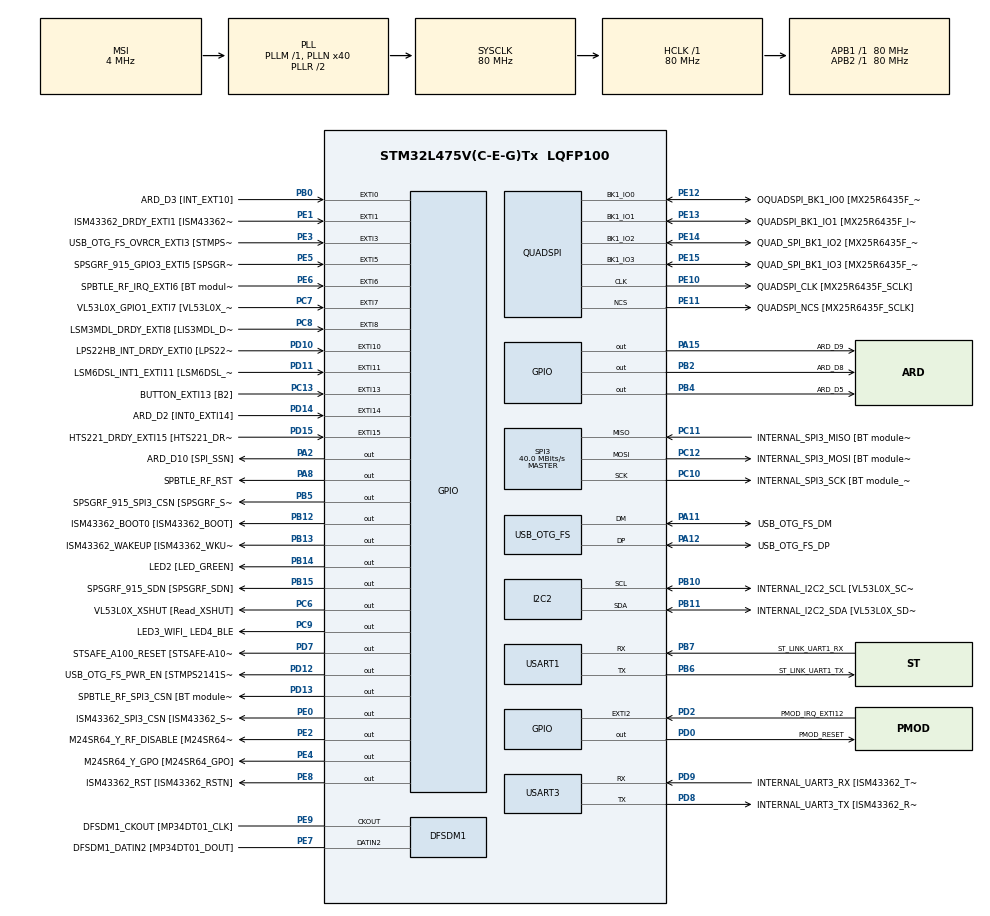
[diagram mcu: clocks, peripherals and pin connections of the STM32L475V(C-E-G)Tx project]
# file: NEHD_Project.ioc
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I2C2.Timing=0x10D19CE4
Mcu.Family=STM32L4
Mcu.Name=STM32L475V(C-E-G)Tx
Mcu.Package=LQFP100
NVIC.EXTI15_10_IRQn=true\:0\:0\:false\:false\:true\:true\:true\:true
NVIC.EXTI9_5_IRQn=true\:0\:0\:false\:false\:true\:true\:true\:true
NVIC.PriorityGroup=NVIC_PRIORITYGROUP_4
PA0.GPIO_Label=ARD_D1 [UART4_TX]
PA0.Signal=UART4_TX
PA1.GPIO_Label=ARD_D0 [UART4_RX]
PA1.Signal=UART4_RX
PA10.GPIO_Label=USB_OTG_FS_ID
PA10.Signal=USB_OTG_FS_ID
PA11.GPIO_Label=USB_OTG_FS_DM
PA11.Mode=Device_Only
PA11.Signal=USB_OTG_FS_DM
PA12.GPIO_Label=USB_OTG_FS_DP
PA12.Mode=Device_Only
PA12.Signal=USB_OTG_FS_DP
PA13\ (JTMS-SWDIO).GPIO_Label=SYS_JTMS_SWDIO
PA13\ (JTMS-SWDIO).Mode=Serial_Wire
PA13\ (JTMS-SWDIO).Signal=SYS_JTMS-SWDIO
PA14\ (JTCK-SWCLK).GPIO_Label=SYS_JTCK_SWCLK
PA14\ (JTCK-SWCLK).Mode=Serial_Wire
PA14\ (JTCK-SWCLK).Signal=SYS_JTCK-SWCLK
PA15\ (JTDI).GPIO_Label=ARD_D9
PA15\ (JTDI).Signal=GPIO_Output
PA2.GPIO_Label=ARD_D10 [SPI_SSN]
PA2.Signal=GPIO_Output
PA3.GPIO_Label=ARD_D4
PA3.Signal=S_TIM2_CH4
PA4.GPIO_Label=ARD_D7
PA4.Signal=ADCx_IN9
PA5.GPIO_Label=ARD_D13 [SPI1_SCK]
PA5.Signal=SPI1_SCK
PA6.GPIO_Label=ARD_D12 [SPI1_MISO]
PA6.Signal=SPI1_MISO
PA7.GPIO_Label=ARD_D11 [SPI1_MOSI]
PA7.Signal=SPI1_MOSI
PA8.GPIO_Label=SPBTLE_RF_RST
PA8.Signal=GPIO_Output
PA9.GPIO_Label=USB_OTG_FS_VBUS [STMPS2141STR_OUT]
PA9.Signal=USB_OTG_FS_VBUS
PB0.GPIO_Label=ARD_D3 [INT_EXT10]
PB0.Signal=GPXTI0
PB1.GPIO_Label=ARD_D6 [ADC1_IN6]
PB1.Signal=ADCx_IN16
PB10.GPIO_Label=INTERNAL_I2C2_SCL [VL53L0X_SCL]
PB10.GPIO_Pu=GPIO_PULLUP
PB10.Mode=I2C
PB10.Signal=I2C2_SCL
PB11.GPIO_Label=INTERNAL_I2C2_SDA [VL53L0X_SDA]
PB11.GPIO_Pu=GPIO_PULLUP
PB11.Mode=I2C
PB11.Signal=I2C2_SDA
PB12.GPIO_Label=ISM43362_BOOT0 [ISM43362_BOOT]
PB12.Signal=GPIO_Output
PB13.GPIO_Label=ISM43362_WAKEUP [ISM43362_WKUP]
PB13.Signal=GPIO_Output
PB14.GPIO_Label=LED2 [LED_GREEN]
PB14.Signal=GPIO_Output
PB15.GPIO_Label=SPSGRF_915_SDN [SPSGRF_SDN]
PB15.Signal=GPIO_Output
PB2.GPIO_Label=ARD_D8
PB2.Signal=GPIO_Output
PB3\ (JTDO-TRACESWO).GPIO_Label=SYS_JTD0_SWO
PB3\ (JTDO-TRACESWO).Signal=SYS_JTDO-SWO
PB4\ (NJTRST).GPIO_Label=ARD_D5
PB4\ (NJTRST).Signal=GPIO_Output
PB5.GPIO_Label=SPSGRF_915_SPI3_CSN [SPSGRF_SPI_CS]
PB5.PinState=GPIO_PIN_SET
PB5.Signal=GPIO_Output
PB6.GPIO_Label=ST_LINK_UART1_TX
PB6.Mode=Asynchronous
PB6.Signal=USART1_TX
PB7.GPIO_Label=ST_LINK_UART1_RX
PB7.Mode=Asynchronous
PB7.Signal=USART1_RX
PB8.GPIO_Label=ARD_D15 [I2C1_SCL]
PB8.Signal=I2C1_SCL
PB9.GPIO_Label=ARD_D14 [I2C1_SDA]
PB9.Signal=I2C1_SDA
PC0.GPIO_Label=ARD_A5 [ADC]
PC0.Signal=ADCx_IN1
PC1.GPIO_Label=ARD_A4 [ADC]
PC1.Signal=ADCx_IN2
PC10.GPIO_Label=INTERNAL_SPI3_SCK [BT module_SPI_SCLK] [ISM43362_SCK]
PC10.Mode=Full_Duplex_Master
PC10.Signal=SPI3_SCK
PC11.GPIO_Label=INTERNAL_SPI3_MISO [BT module_SPI_MISO] [ISM43362_MISO]
PC11.Mode=Full_Duplex_Master
PC11.Signal=SPI3_MISO
PC12.GPIO_Label=INTERNAL_SPI3_MOSI [BT module_SPI_MOSI] [ISM43362_MOSI]
PC12.Mode=Full_Duplex_Master
PC12.Signal=SPI3_MOSI
PC13.GPIO_Label=BUTTON_EXTI13 [B2]
PC13.GPIO_ModeDefaultEXTI=GPIO_MODE_IT_FALLING
PC13.Signal=GPXTI13
PC14-OSC32_IN\ (PC14).Mode=LSE-External-Oscillator
PC14-OSC32_IN\ (PC14).Signal=RCC_OSC32_IN
PC15-OSC32_OUT\ (PC15).Mode=LSE-External-Oscillator
PC15-OSC32_OUT\ (PC15).Signal=RCC_OSC32_OUT
PC2.GPIO_Label=ARD_A3 [ADC]
PC2.Signal=ADCx_IN3
PC3.GPIO_Label=ARD_A2 [ADC]
PC3.Signal=ADCx_IN4
PC4.GPIO_Label=ARD_A1 [ADC]
PC4.Signal=ADCx_IN13
PC5.GPIO_Label=ARD_A0 [ADC]
PC5.Signal=ADCx_IN14
PC6.GPIO_Label=VL53L0X_XSHUT [Read_XSHUT]
PC6.Signal=GPIO_Output
PC7.GPIO_Label=VL53L0X_GPIO1_EXTI7 [VL53L0X_GPIO1]
PC7.Signal=GPXTI7
PC8.GPIO_Label=LSM3MDL_DRDY_EXTI8 [LIS3MDL_DRDY]
PC8.Signal=GPXTI8
PC9.GPIO_Label=LED3_WIFI_ LED4_BLE
PC9.Signal=GPIO_Output
PD0.GPIO_Label=PMOD_RESET
PD0.Signal=GPIO_Output
PD1.GPIO_Label=PMOD_SPI2_SCK
PD1.Signal=SPI2_SCK
PD10.GPIO_Label=LPS22HB_INT_DRDY_EXTI0 [LPS22HB_INT_DRDY] 
PD10.Signal=GPXTI10
PD11.GPIO_Label=LSM6DSL_INT1_EXTI11 [LSM6DSL_INT1]
PD11.Signal=GPXTI11
PD12.GPIO_Label=USB_OTG_FS_PWR_EN [STMPS2141STR_EN]
PD12.Signal=GPIO_Output
PD13.GPIO_Label=SPBTLE_RF_SPI3_CSN [BT module_SPI_CS]
PD13.PinState=GPIO_PIN_SET
PD13.Signal=GPIO_Output
PD14.GPIO_Label=ARD_D2 [INT0_EXTI14]
PD14.Signal=GPXTI14
PD15.GPIO_Label=HTS221_DRDY_EXTI15 [HTS221_DRDY]
PD15.Signal=GPXTI15
PD2.GPIO_Label=PMOD_IRQ_EXTI12
PD2.Signal=GPXTI2
PD3.GPIO_Label=PMOD_UART2_CTS
PD3.Signal=USART2_CTS
PD4.GPIO_Label=PMOD_UART2_RTS
PD4.Signal=USART2_RTS
PD5.GPIO_Label=PMOD_UART2_TX
PD5.Signal=USART2_TX
PD6.GPIO_Label=PMOD_UART2_RX
PD6.Signal=USART2_RX
PD7.GPIO_Label=STSAFE_A100_RESET [STSAFE-A100_RESET]
PD7.Signal=GPIO_Output
PD8.GPIO_Label=INTERNAL_UART3_TX [ISM43362_RX]
PD8.Mode=Asynchronous
PD8.Signal=USART3_TX
PD9.GPIO_Label=INTERNAL_UART3_RX [ISM43362_TX]
PD9.Mode=Asynchronous
PD9.Signal=USART3_RX
PE0.GPIO_Label=ISM43362_SPI3_CSN [ISM43362_SSN]
PE0.PinState=GPIO_PIN_SET
PE0.Signal=GPIO_Output
PE1.GPIO_Label=ISM43362_DRDY_EXTI1 [ISM43362_DATARDY]
PE1.Signal=GPXTI1
PE10.GPIO_Label=QUADSPI_CLK [MX25R6435F_SCLK]
PE10.Mode=Single Bank
PE10.Signal=QUADSPI_CLK
PE11.GPIO_Label=QUADSPI_NCS [MX25R6435F_SCLK]
PE11.Mode=Single Bank
PE11.Signal=QUADSPI_NCS
PE12.GPIO_Label=OQUADSPI_BK1_IO0 [MX25R6435F_IO0]
PE12.Mode=Single Bank
PE12.Signal=QUADSPI_BK1_IO0
PE13.GPIO_Label=QUADSPI_BK1_IO1 [MX25R6435F_IO1]
PE13.Mode=Single Bank
PE13.Signal=QUADSPI_BK1_IO1
PE14.GPIO_Label=QUAD_SPI_BK1_IO2 [MX25R6435F_IO2]
PE14.Mode=Single Bank
PE14.Signal=QUADSPI_BK1_IO2
PE15.GPIO_Label=QUAD_SPI_BK1_IO3 [MX25R6435F_IO3]
PE15.Mode=Single Bank
PE15.Signal=QUADSPI_BK1_IO3
PE2.GPIO_Label=M24SR64_Y_RF_DISABLE [M24SR64_RFDIS]
PE2.Signal=GPIO_Output
PE3.GPIO_Label=USB_OTG_FS_OVRCR_EXTI3 [STMPS2141STR_FAULT]
PE3.Signal=GPXTI3
PE4.GPIO_Label=M24SR64_Y_GPO [M24SR64_GPO]
PE4.Signal=GPIO_Output
PE5.GPIO_Label=SPSGRF_915_GPIO3_EXTI5 [SPSGRF_GPIO_3]
PE5.Signal=GPXTI5
PE6.GPIO_Label=SPBTLE_RF_IRQ_EXTI6 [BT module_SPI_IRQ]
PE6.Signal=GPXTI6
PE7.GPIO_Label=DFSDM1_DATIN2 [MP34DT01_DOUT]
PE7.Signal=S_DATAIN2DFSDM1
PE8.GPIO_Label=ISM43362_RST [ISM43362_RSTN]
PE8.Signal=GPIO_Output
PE9.GPIO_Label=DFSDM1_CKOUT [MP34DT01_CLK]
PE9.Signal=S_CKOUTDFSDM1
ProjectManager.HeapSize=0x200
ProjectManager.StackSize=0x400
ProjectManager.TargetToolchain=STM32CubeIDE
QUADSPI.ClockPrescaler=2
QUADSPI.FifoThreshold=4
QUADSPI.FlashSize=23
QUADSPI.SampleShifting=QSPI_SAMPLE_SHIFTING_HALFCYCLE
RCC.ADCFreq_Value=48000000
RCC.AHBFreq_Value=80000000
RCC.APB1Freq_Value=80000000
RCC.APB1TimFreq_Value=80000000
RCC.APB2Freq_Value=80000000
RCC.APB2TimFreq_Value=80000000
RCC.CortexFreq_Value=80000000
RCC.HCLKFreq_Value=80000000
RCC.HSE_VALUE=8000000
RCC.HSI_VALUE=16000000
RCC.MSI_VALUE=4000000
RCC.PLLN=40
RCC.PLLSAI1N=24
RCC.SYSCLKFreq_VALUE=80000000
RCC.SYSCLKSource=RCC_SYSCLKSOURCE_PLLCLK
RCC.USBFreq_Value=48000000
RCC.VCOOutputFreq_Value=160000000
SH.ADCx_IN1.0=ADC1_IN1
SH.ADCx_IN13.0=ADC1_IN13
SH.ADCx_IN14.0=ADC1_IN14
SH.ADCx_IN16.0=ADC1_IN16
SH.ADCx_IN2.0=ADC1_IN2
SH.ADCx_IN3.0=ADC1_IN3
SH.ADCx_IN4.0=ADC1_IN4
SH.ADCx_IN9.0=ADC1_IN9
SH.S_CKOUTDFSDM1.0=DFSDM1_CKOUT,CKOUT
SH.S_CKOUTDFSDM1.1=DFSDM1_CKOUT,PDM_SPI_Input_from_ch12_and_Internal_Clock
SH.S_DATAIN2DFSDM1.0=DFSDM1_DATIN2,PDM_SPI_Input_from_ch12_and_Internal_Clock
SH.S_TIM2_CH4.0=TIM2_CH4
SPI3.CalculateBaudRate=40.0 MBits/s
SPI3.Direction=SPI_DIRECTION_2LINES
SPI3.Mode=SPI_MODE_MASTER
SPI3.VirtualType=VM_MASTER
STMicroelectronics.X-CUBE-MEMS1.11.1.0.BSP.number=1
STMicroelectronics.X-CUBE-MEMS1.11.1.0.BoardOoPartJjAccGyrJjLSM6DSL=I2C
STMicroelectronics.X-CUBE-MEMS1.11.1.00.BSP.STBoard=false
STMicroelectronics.X-CUBE-MEMS1.11.1.00.BSP.api=BSP_BUS_DRIVER
STMicroelectronics.X-CUBE-MEMS1.11.1.00.BSP.condition=SEMBoardOoPartJjAccGyrJjLSM6DSLJjI2C
STMicroelectronics.X-CUBE-MEMS1.11.1.00.BSP.instance=I2C2
STMicroelectronics.X-CUBE-MEMS1.11.1.00.BSP.ip=I2C
STMicroelectronics.X-CUBE-MEMS1.11.1.00.BSP.mode=I2C
STMicroelectronics.X-CUBE-MEMS1.11.1.00.BSP.name=LSM6DSL BUS IO driver
STMicroelectronics.X-CUBE-MEMS1.11.1.00.BSP.solution=I2C2
USART1.VirtualMode-Asynchronous=VM_ASYNC
USART3.VirtualMode-Asynchronous=VM_ASYNC
USB_OTG_FS.VirtualMode=Device_Only
VP_STMicroelectronics.X-CUBE-MEMS1_VS_BoardOoPartJjAccGyr_5.6.0_11.1.0.Mode=BoardOoPartJjAccGyr
board=B-L475E-IOT01A2

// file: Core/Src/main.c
// Alex Cen Feng
/* USER CODE BEGIN Header */
/**
  ******************************************************************************
  * @file           : main.c
  * @brief          : Main program body
  ******************************************************************************
  * @attention
  *
  * Copyright (c) 2025 STMicroelectronics.
  * All rights reserved.
  *
  * This software is licensed under terms that can be found in the LICENSE file
  * in the root directory of this software component.
  * If no LICENSE file comes with this software, it is provided AS-IS.
  *
  ******************************************************************************
  */
/* USER CODE END Header */

#include "main.h"

#include "string.h"
#include <stdio.h>

/* USER CODE BEGIN Includes */
#include "stm32l475e_iot01.h"
#include "stm32l475e_iot01_gyro.h"
/* USER CODE END Includes */

DFSDM_Channel_HandleTypeDef hdfsdm1_channel1;
I2C_HandleTypeDef hi2c2;
QSPI_HandleTypeDef hqspi;
SPI_HandleTypeDef hspi3;
UART_HandleTypeDef huart1;
UART_HandleTypeDef huart3;
PCD_HandleTypeDef hpcd_USB_OTG_FS;

/* USER CODE BEGIN PV */
// Buffer to hold text for UART
static char msgBuffer[100];
// Float array to hold gyroscope data [X, Y, Z]
static float gyroData[3];
/* USER CODE END PV */

void SystemClock_Config(void);
static void MX_GPIO_Init(void);
static void MX_DFSDM1_Init(void);
static void MX_I2C2_Init(void);
static void MX_QUADSPI_Init(void);
static void MX_SPI3_Init(void);
static void MX_USART1_UART_Init(void);
static void MX_USART3_UART_Init(void);
static void MX_USB_OTG_FS_PCD_Init(void);

int main(void)
{

  /* MCU Configuration--------------------------------------------------------*/
  HAL_Init();                            // Reset peripherals, Init the Flash and Systick.

  SystemClock_Config();                  // Configure the system clock.

  /* Initialize all configured peripherals */
  MX_GPIO_Init();
  MX_DFSDM1_Init();
  MX_I2C2_Init();
  MX_QUADSPI_Init();
  MX_SPI3_Init();
  MX_USART1_UART_Init();
  MX_USART3_UART_Init();
  MX_USB_OTG_FS_PCD_Init();

  /* USER CODE BEGIN 2 */
  // ---------------------------------------------------------------
  // Initialize the LSM6DSL Gyroscope using the BSP driver
  // ---------------------------------------------------------------
  BSP_GYRO_Init();
  // ---------------------------------------------------------------
  /* USER CODE END 2 */

  /* Infinite loop */
  /* USER CODE BEGIN WHILE */
  while (1)
  {
    // Read gyroscope data [dps: degrees per second]
    BSP_GYRO_GetXYZ(gyroData);

    // Prepare a text string to display the readings
    sprintf(msgBuffer,
            "GYRO [X,Y,Z] = [%.2f, %.2f, %.2f] dps\r\n",
            gyroData[0], gyroData[1], gyroData[2]);

    // Print via UART1 (115200 8N1)
    HAL_UART_Transmit(&huart1,
                      (uint8_t *)msgBuffer,
                      strlen(msgBuffer),
                      HAL_MAX_DELAY);

    if (HAL_GPIO_ReadPin(BUTTON_EXTI13_GPIO_Port, BUTTON_EXTI13_Pin) == GPIO_PIN_RESET)
    {
      // The button is currently pressed
      sprintf(msgBuffer, "User button is pressed!\r\n");
      HAL_UART_Transmit(&huart1,
                        (uint8_t *)msgBuffer,
                        strlen(msgBuffer),
                        HAL_MAX_DELAY);
    }

    // Small delay for readability
    HAL_Delay(500);
    /* USER CODE END WHILE */

  }
}

void SystemClock_Config(void)
{
  RCC_OscInitTypeDef RCC_OscInitStruct = {0};
  RCC_ClkInitTypeDef RCC_ClkInitStruct = {0};

  /** Configure the main internal regulator output voltage
  */
  if (HAL_PWREx_ControlVoltageScaling(PWR_REGULATOR_VOLTAGE_SCALE1) != HAL_OK)
  {
    Error_Handler();
  }

  /** Configure LSE Drive Capability
  */
  HAL_PWR_EnableBkUpAccess();
  __HAL_RCC_LSEDRIVE_CONFIG(RCC_LSEDRIVE_LOW);

  /** Initializes the RCC Oscillators
  */
  RCC_OscInitStruct.OscillatorType      = RCC_OSCILLATORTYPE_LSE|RCC_OSCILLATORTYPE_MSI;
  RCC_OscInitStruct.LSEState           = RCC_LSE_ON;
  RCC_OscInitStruct.MSIState           = RCC_MSI_ON;
  RCC_OscInitStruct.MSICalibrationValue= 0;
  RCC_OscInitStruct.MSIClockRange      = RCC_MSIRANGE_6;
  RCC_OscInitStruct.PLL.PLLState       = RCC_PLL_ON;
  RCC_OscInitStruct.PLL.PLLSource      = RCC_PLLSOURCE_MSI;
  RCC_OscInitStruct.PLL.PLLM           = 1;
  RCC_OscInitStruct.PLL.PLLN           = 40;
  RCC_OscInitStruct.PLL.PLLP           = RCC_PLLP_DIV7;
  RCC_OscInitStruct.PLL.PLLQ           = RCC_PLLQ_DIV2;
  RCC_OscInitStruct.PLL.PLLR           = RCC_PLLR_DIV2;
  if (HAL_RCC_OscConfig(&RCC_OscInitStruct) != HAL_OK)
  {
    Error_Handler();
  }

  /** Initializes the CPU, AHB, and APB bus clocks
  */
  RCC_ClkInitStruct.ClockType      = RCC_CLOCKTYPE_HCLK|RCC_CLOCKTYPE_SYSCLK
                                     |RCC_CLOCKTYPE_PCLK1|RCC_CLOCKTYPE_PCLK2;
  RCC_ClkInitStruct.SYSCLKSource   = RCC_SYSCLKSOURCE_PLLCLK;
  RCC_ClkInitStruct.AHBCLKDivider  = RCC_SYSCLK_DIV1;
  RCC_ClkInitStruct.APB1CLKDivider = RCC_HCLK_DIV1;
  RCC_ClkInitStruct.APB2CLKDivider = RCC_HCLK_DIV1;

  if(HAL_RCC_ClockConfig(&RCC_ClkInitStruct, FLASH_LATENCY_4) != HAL_OK)
  {
    Error_Handler();
  }

  /** Enable MSI Auto calibration
  */
  HAL_RCCEx_EnableMSIPLLMode();
}

static void MX_DFSDM1_Init(void)
{

  hdfsdm1_channel1.Instance                      = DFSDM1_Channel1;
  hdfsdm1_channel1.Init.OutputClock.Activation   = ENABLE;
  hdfsdm1_channel1.Init.OutputClock.Selection    = DFSDM_CHANNEL_OUTPUT_CLOCK_SYSTEM;
  hdfsdm1_channel1.Init.OutputClock.Divider      = 2;
  hdfsdm1_channel1.Init.Input.Multiplexer        = DFSDM_CHANNEL_EXTERNAL_INPUTS;
  hdfsdm1_channel1.Init.Input.DataPacking        = DFSDM_CHANNEL_STANDARD_MODE;
  hdfsdm1_channel1.Init.Input.Pins               = DFSDM_CHANNEL_FOLLOWING_CHANNEL_PINS;
  hdfsdm1_channel1.Init.SerialInterface.Type     = DFSDM_CHANNEL_SPI_RISING;
  hdfsdm1_channel1.Init.SerialInterface.SpiClock = DFSDM_CHANNEL_SPI_CLOCK_INTERNAL;
  hdfsdm1_channel1.Init.Awd.FilterOrder          = DFSDM_CHANNEL_FASTSINC_ORDER;
  hdfsdm1_channel1.Init.Awd.Oversampling         = 1;
  hdfsdm1_channel1.Init.Offset                   = 0;
  hdfsdm1_channel1.Init.RightBitShift            = 0x00;
  if (HAL_DFSDM_ChannelInit(&hdfsdm1_channel1) != HAL_OK)
  {
    Error_Handler();
  }
}

static void MX_I2C2_Init(void)
{

  hi2c2.Instance              = I2C2;
  hi2c2.Init.Timing           = 0x00000E14;
  hi2c2.Init.OwnAddress1      = 0;
  hi2c2.Init.AddressingMode   = I2C_ADDRESSINGMODE_7BIT;
  hi2c2.Init.DualAddressMode  = I2C_DUALADDRESS_DISABLE;
  hi2c2.Init.OwnAddress2      = 0;
  hi2c2.Init.OwnAddress2Masks = I2C_OA2_NOMASK;
  hi2c2.Init.GeneralCallMode  = I2C_GENERALCALL_DISABLE;
  hi2c2.Init.NoStretchMode    = I2C_NOSTRETCH_DISABLE;
  if (HAL_I2C_Init(&hi2c2) != HAL_OK)
  {
    Error_Handler();
  }

  /** Configure Analogue filter
  */
  if (HAL_I2CEx_ConfigAnalogFilter(&hi2c2, I2C_ANALOGFILTER_ENABLE) != HAL_OK)
  {
    Error_Handler();
  }

  /** Configure Digital filter
  */
  if (HAL_I2CEx_ConfigDigitalFilter(&hi2c2, 0) != HAL_OK)
  {
    Error_Handler();
  }
}

static void MX_QUADSPI_Init(void)
{

  /* QUADSPI parameter configuration*/
  hqspi.Instance               = QUADSPI;
  hqspi.Init.ClockPrescaler    = 2;
  hqspi.Init.FifoThreshold     = 4;
  hqspi.Init.SampleShifting    = QSPI_SAMPLE_SHIFTING_HALFCYCLE;
  hqspi.Init.FlashSize         = 23;
  hqspi.Init.ChipSelectHighTime= QSPI_CS_HIGH_TIME_1_CYCLE;
  hqspi.Init.ClockMode         = QSPI_CLOCK_MODE_0;
  if (HAL_QSPI_Init(&hqspi) != HAL_OK)
  {
    Error_Handler();
  }
}

static void MX_SPI3_Init(void)
{

  /* SPI3 parameter configuration*/
  hspi3.Instance               = SPI3;
  hspi3.Init.Mode              = SPI_MODE_MASTER;
  hspi3.Init.Direction         = SPI_DIRECTION_2LINES;
  hspi3.Init.DataSize          = SPI_DATASIZE_4BIT;
  hspi3.Init.CLKPolarity       = SPI_POLARITY_LOW;
  hspi3.Init.CLKPhase          = SPI_PHASE_1EDGE;
  hspi3.Init.NSS               = SPI_NSS_SOFT;
  hspi3.Init.BaudRatePrescaler = SPI_BAUDRATEPRESCALER_2;
  hspi3.Init.FirstBit          = SPI_FIRSTBIT_MSB;
  hspi3.Init.TIMode            = SPI_TIMODE_DISABLE;
  hspi3.Init.CRCCalculation    = SPI_CRCCALCULATION_DISABLE;
  hspi3.Init.CRCPolynomial     = 7;
  hspi3.Init.CRCLength         = SPI_CRC_LENGTH_DATASIZE;
  hspi3.Init.NSSPMode          = SPI_NSS_PULSE_ENABLE;
  if (HAL_SPI_Init(&hspi3) != HAL_OK)
  {
    Error_Handler();
  }
}

static void MX_USART1_UART_Init(void)
{

  huart1.Instance                    = USART1;
  huart1.Init.BaudRate              = 115200;
  huart1.Init.WordLength            = UART_WORDLENGTH_8B;
  huart1.Init.StopBits              = UART_STOPBITS_1;
  huart1.Init.Parity                = UART_PARITY_NONE;
  huart1.Init.Mode                  = UART_MODE_TX_RX;
  huart1.Init.HwFlowCtl             = UART_HWCONTROL_NONE;
  huart1.Init.OverSampling          = UART_OVERSAMPLING_16;
  huart1.Init.OneBitSampling        = UART_ONE_BIT_SAMPLE_DISABLE;
  huart1.AdvancedInit.AdvFeatureInit= UART_ADVFEATURE_NO_INIT;
  if (HAL_UART_Init(&huart1) != HAL_OK)
  {
    Error_Handler();
  }
}

static void MX_USART3_UART_Init(void)
{

  huart3.Instance                    = USART3;
  huart3.Init.BaudRate              = 115200;
  huart3.Init.WordLength            = UART_WORDLENGTH_8B;
  huart3.Init.StopBits              = UART_STOPBITS_1;
  huart3.Init.Parity                = UART_PARITY_NONE;
  huart3.Init.Mode                  = UART_MODE_TX_RX;
  huart3.Init.HwFlowCtl             = UART_HWCONTROL_NONE;
  huart3.Init.OverSampling          = UART_OVERSAMPLING_16;
  huart3.Init.OneBitSampling        = UART_ONE_BIT_SAMPLE_DISABLE;
  huart3.AdvancedInit.AdvFeatureInit= UART_ADVFEATURE_NO_INIT;
  if (HAL_UART_Init(&huart3) != HAL_OK)
  {
    Error_Handler();
  }
}

static void MX_USB_OTG_FS_PCD_Init(void)
{

  hpcd_USB_OTG_FS.Instance                      = USB_OTG_FS;
  hpcd_USB_OTG_FS.Init.dev_endpoints           = 6;
  hpcd_USB_OTG_FS.Init.speed                   = PCD_SPEED_FULL;
  hpcd_USB_OTG_FS.Init.phy_itface              = PCD_PHY_EMBEDDED;
  hpcd_USB_OTG_FS.Init.Sof_enable              = DISABLE;
  hpcd_USB_OTG_FS.Init.low_power_enable        = DISABLE;
  hpcd_USB_OTG_FS.Init.lpm_enable              = DISABLE;
  hpcd_USB_OTG_FS.Init.battery_charging_enable = DISABLE;
  hpcd_USB_OTG_FS.Init.use_dedicated_ep1       = DISABLE;
  hpcd_USB_OTG_FS.Init.vbus_sensing_enable     = DISABLE;
  if (HAL_PCD_Init(&hpcd_USB_OTG_FS) != HAL_OK)
  {
    Error_Handler();
  }
}

static void MX_GPIO_Init(void)
{
  GPIO_InitTypeDef GPIO_InitStruct = {0};

  /* GPIO Ports Clock Enable */
  __HAL_RCC_GPIOE_CLK_ENABLE();
  __HAL_RCC_GPIOC_CLK_ENABLE();
  __HAL_RCC_GPIOA_CLK_ENABLE();
  __HAL_RCC_GPIOB_CLK_ENABLE();
  __HAL_RCC_GPIOD_CLK_ENABLE();

  /*Configure GPIO pin Output Level */
  HAL_GPIO_WritePin(GPIOE, M24SR64_Y_RF_DISABLE_Pin|M24SR64_Y_GPO_Pin|ISM43362_RST_Pin, GPIO_PIN_RESET);

  /*Configure GPIO pin Output Level */
  HAL_GPIO_WritePin(GPIOA, ARD_D10_Pin|SPBTLE_RF_RST_Pin|ARD_D9_Pin, GPIO_PIN_RESET);

  /*Configure GPIO pin Output Level */
  HAL_GPIO_WritePin(GPIOB, ARD_D8_Pin|ISM43362_BOOT0_Pin|ISM43362_WAKEUP_Pin|LED2_Pin
                          |SPSGRF_915_SDN_Pin|ARD_D5_Pin, GPIO_PIN_RESET);

  /*Configure GPIO pin Output Level */
  HAL_GPIO_WritePin(GPIOD, USB_OTG_FS_PWR_EN_Pin|PMOD_RESET_Pin|STSAFE_A100_RESET_Pin, GPIO_PIN_RESET);

  /*Configure GPIO pin Output Level */
  HAL_GPIO_WritePin(SPBTLE_RF_SPI3_CSN_GPIO_Port, SPBTLE_RF_SPI3_CSN_Pin, GPIO_PIN_SET);

  /*Configure GPIO pin Output Level */
  HAL_GPIO_WritePin(GPIOC, VL53L0X_XSHUT_Pin|LED3_WIFI__LED4_BLE_Pin, GPIO_PIN_RESET);

  /*Configure GPIO pin Output Level */
  HAL_GPIO_WritePin(SPSGRF_915_SPI3_CSN_GPIO_Port, SPSGRF_915_SPI3_CSN_Pin, GPIO_PIN_SET);

  /*Configure GPIO pins : M24SR64_Y_RF_DISABLE_Pin M24SR64_Y_GPO_Pin ISM43362_RST_Pin ISM43362_SPI3_CSN_Pin */
  GPIO_InitStruct.Pin   = M24SR64_Y_RF_DISABLE_Pin|M24SR64_Y_GPO_Pin|ISM43362_RST_Pin|ISM43362_SPI3_CSN_Pin;
  GPIO_InitStruct.Mode  = GPIO_MODE_OUTPUT_PP;
  GPIO_InitStruct.Pull  = GPIO_NOPULL;
  GPIO_InitStruct.Speed = GPIO_SPEED_FREQ_LOW;
  HAL_GPIO_Init(GPIOE, &GPIO_InitStruct);

  /*Configure GPIO pins : USB_OTG_FS_OVRCR_EXTI3_Pin SPSGRF_915_GPIO3_EXTI5_Pin SPBTLE_RF_IRQ_EXTI6_Pin ISM43362_DRDY_EXTI1_Pin */
  GPIO_InitStruct.Pin   = USB_OTG_FS_OVRCR_EXTI3_Pin|SPSGRF_915_GPIO3_EXTI5_Pin|SPBTLE_RF_IRQ_EXTI6_Pin|ISM43362_DRDY_EXTI1_Pin;
  GPIO_InitStruct.Mode  = GPIO_MODE_IT_RISING;
  GPIO_InitStruct.Pull  = GPIO_NOPULL;
  HAL_GPIO_Init(GPIOE, &GPIO_InitStruct);

  /*Configure GPIO pin : BUTTON_EXTI13_Pin */
  GPIO_InitStruct.Pin   = BUTTON_EXTI13_Pin;
  GPIO_InitStruct.Mode  = GPIO_MODE_INPUT;
  GPIO_InitStruct.Pull  = GPIO_PULLUP;
  HAL_GPIO_Init(BUTTON_EXTI13_GPIO_Port, &GPIO_InitStruct);

  /*Configure GPIO pins : ARD_A5_Pin ARD_A4_Pin ARD_A3_Pin ARD_A2_Pin
                           ARD_A1_Pin ARD_A0_Pin */
  GPIO_InitStruct.Pin   = ARD_A5_Pin|ARD_A4_Pin|ARD_A3_Pin|ARD_A2_Pin
                          |ARD_A1_Pin|ARD_A0_Pin;
  GPIO_InitStruct.Mode  = GPIO_MODE_ANALOG_ADC_CONTROL;
  GPIO_InitStruct.Pull  = GPIO_NOPULL;
  HAL_GPIO_Init(GPIOC, &GPIO_InitStruct);

  /*Configure GPIO pins : ARD_D1_Pin ARD_D0_Pin */
  GPIO_InitStruct.Pin       = ARD_D1_Pin|ARD_D0_Pin;
  GPIO_InitStruct.Mode      = GPIO_MODE_AF_PP;
  GPIO_InitStruct.Pull      = GPIO_NOPULL;
  GPIO_InitStruct.Speed     = GPIO_SPEED_FREQ_VERY_HIGH;
  GPIO_InitStruct.Alternate = GPIO_AF8_UART4;
  HAL_GPIO_Init(GPIOA, &GPIO_InitStruct);

  /*Configure GPIO pins : ARD_D10_Pin SPBTLE_RF_RST_Pin ARD_D9_Pin */
  GPIO_InitStruct.Pin   = ARD_D10_Pin|SPBTLE_RF_RST_Pin|ARD_D9_Pin;
  GPIO_InitStruct.Mode  = GPIO_MODE_OUTPUT_PP;
  GPIO_InitStruct.Pull  = GPIO_NOPULL;
  GPIO_InitStruct.Speed = GPIO_SPEED_FREQ_LOW;
  HAL_GPIO_Init(GPIOA, &GPIO_InitStruct);

  /*Configure GPIO pin : ARD_D4_Pin */
  GPIO_InitStruct.Pin       = ARD_D4_Pin;
  GPIO_InitStruct.Mode      = GPIO_MODE_AF_PP;
  GPIO_InitStruct.Pull      = GPIO_NOPULL;
  GPIO_InitStruct.Speed     = GPIO_SPEED_FREQ_LOW;
  GPIO_InitStruct.Alternate = GPIO_AF1_TIM2;
  HAL_GPIO_Init(ARD_D4_GPIO_Port, &GPIO_InitStruct);

  /*Configure GPIO pin : ARD_D7_Pin */
  GPIO_InitStruct.Pin  = ARD_D7_Pin;
  GPIO_InitStruct.Mode = GPIO_MODE_ANALOG_ADC_CONTROL;
  GPIO_InitStruct.Pull = GPIO_NOPULL;
  HAL_GPIO_Init(ARD_D7_GPIO_Port, &GPIO_InitStruct);

  /*Configure GPIO pins : ARD_D13_Pin ARD_D12_Pin ARD_D11_Pin */
  GPIO_InitStruct.Pin       = ARD_D13_Pin|ARD_D12_Pin|ARD_D11_Pin;
  GPIO_InitStruct.Mode      = GPIO_MODE_AF_PP;
  GPIO_InitStruct.Pull      = GPIO_NOPULL;
  GPIO_InitStruct.Speed     = GPIO_SPEED_FREQ_VERY_HIGH;
  GPIO_InitStruct.Alternate = GPIO_AF5_SPI1;
  HAL_GPIO_Init(GPIOA, &GPIO_InitStruct);

  /*Configure GPIO pin : ARD_D3_Pin */
  GPIO_InitStruct.Pin  = ARD_D3_Pin;
  GPIO_InitStruct.Mode = GPIO_MODE_IT_RISING;
  GPIO_InitStruct.Pull = GPIO_NOPULL;
  HAL_GPIO_Init(ARD_D3_GPIO_Port, &GPIO_InitStruct);

  /*Configure GPIO pin : ARD_D6_Pin */
  GPIO_InitStruct.Pin  = ARD_D6_Pin;
  GPIO_InitStruct.Mode = GPIO_MODE_ANALOG_ADC_CONTROL;
  GPIO_InitStruct.Pull = GPIO_NOPULL;
  HAL_GPIO_Init(ARD_D6_GPIO_Port, &GPIO_InitStruct);

  /*Configure GPIO pins : ARD_D8_Pin ISM43362_BOOT0_Pin ISM43362_WAKEUP_Pin LED2_Pin
                           SPSGRF_915_SDN_Pin ARD_D5_Pin SPSGRF_915_SPI3_CSN_Pin */
  GPIO_InitStruct.Pin   = ARD_D8_Pin|ISM43362_BOOT0_Pin|ISM43362_WAKEUP_Pin|LED2_Pin
                          |SPSGRF_915_SDN_Pin|ARD_D5_Pin|SPSGRF_915_SPI3_CSN_Pin;
  GPIO_InitStruct.Mode  = GPIO_MODE_OUTPUT_PP;
  GPIO_InitStruct.Pull  = GPIO_NOPULL;
  GPIO_InitStruct.Speed = GPIO_SPEED_FREQ_LOW;
  HAL_GPIO_Init(GPIOB, &GPIO_InitStruct);

  /*Configure GPIO pins : LPS22HB_INT_DRDY_EXTI0_Pin LSM6DSL_INT1_EXTI11_Pin ARD_D2_Pin HTS221_DRDY_EXTI15_Pin
                           PMOD_IRQ_EXTI12_Pin */
  GPIO_InitStruct.Pin   = LPS22HB_INT_DRDY_EXTI0_Pin|LSM6DSL_INT1_EXTI11_Pin|ARD_D2_Pin|HTS221_DRDY_EXTI15_Pin
                          |PMOD_IRQ_EXTI12_Pin;
  GPIO_InitStruct.Mode  = GPIO_MODE_IT_RISING;
  GPIO_InitStruct.Pull  = GPIO_NOPULL;
  HAL_GPIO_Init(GPIOD, &GPIO_InitStruct);

  /*Configure GPIO pins : USB_OTG_FS_PWR_EN_Pin SPBTLE_RF_SPI3_CSN_Pin PMOD_RESET_Pin STSAFE_A100_RESET_Pin */
  GPIO_InitStruct.Pin   = USB_OTG_FS_PWR_EN_Pin|SPBTLE_RF_SPI3_CSN_Pin|PMOD_RESET_Pin|STSAFE_A100_RESET_Pin;
  GPIO_InitStruct.Mode  = GPIO_MODE_OUTPUT_PP;
  GPIO_InitStruct.Pull  = GPIO_NOPULL;
  GPIO_InitStruct.Speed = GPIO_SPEED_FREQ_LOW;
  HAL_GPIO_Init(GPIOD, &GPIO_InitStruct);

  /*Configure GPIO pins : VL53L0X_XSHUT_Pin LED3_WIFI__LED4_BLE_Pin */
  GPIO_InitStruct.Pin   = VL53L0X_XSHUT_Pin|LED3_WIFI__LED4_BLE_Pin;
  GPIO_InitStruct.Mode  = GPIO_MODE_OUTPUT_PP;
  GPIO_InitStruct.Pull  = GPIO_NOPULL;
  GPIO_InitStruct.Speed = GPIO_SPEED_FREQ_LOW;
  HAL_GPIO_Init(GPIOC, &GPIO_InitStruct);

  /*Configure GPIO pins : VL53L0X_GPIO1_EXTI7_Pin LSM3MDL_DRDY_EXTI8_Pin */
  GPIO_InitStruct.Pin  = VL53L0X_GPIO1_EXTI7_Pin|LSM3MDL_DRDY_EXTI8_Pin;
  GPIO_InitStruct.Mode = GPIO_MODE_IT_RISING;
  GPIO_InitStruct.Pull = GPIO_NOPULL;
  HAL_GPIO_Init(GPIOC, &GPIO_InitStruct);

  /*Configure GPIO pin : PMOD_SPI2_SCK_Pin */
  GPIO_InitStruct.Pin       = PMOD_SPI2_SCK_Pin;
  GPIO_InitStruct.Mode      = GPIO_MODE_AF_PP;
  GPIO_InitStruct.Pull      = GPIO_NOPULL;
  GPIO_InitStruct.Speed     = GPIO_SPEED_FREQ_VERY_HIGH;
  GPIO_InitStruct.Alternate = GPIO_AF5_SPI2;
  HAL_GPIO_Init(PMOD_SPI2_SCK_GPIO_Port, &GPIO_InitStruct);

  /*Configure GPIO pins : PMOD_UART2_CTS_Pin PMOD_UART2_RTS_Pin PMOD_UART2_TX_Pin PMOD_UART2_RX_Pin */
  GPIO_InitStruct.Pin       = PMOD_UART2_CTS_Pin|PMOD_UART2_RTS_Pin|PMOD_UART2_TX_Pin|PMOD_UART2_RX_Pin;
  GPIO_InitStruct.Mode      = GPIO_MODE_AF_PP;
  GPIO_InitStruct.Pull      = GPIO_NOPULL;
  GPIO_InitStruct.Speed     = GPIO_SPEED_FREQ_VERY_HIGH;
  GPIO_InitStruct.Alternate = GPIO_AF7_USART2;
  HAL_GPIO_Init(GPIOD, &GPIO_InitStruct);

  /*Configure GPIO pins : ARD_D15_Pin ARD_D14_Pin */
  GPIO_InitStruct.Pin       = ARD_D15_Pin|ARD_D14_Pin;
  GPIO_InitStruct.Mode      = GPIO_MODE_AF_OD;
  GPIO_InitStruct.Pull      = GPIO_NOPULL;
  GPIO_InitStruct.Speed     = GPIO_SPEED_FREQ_VERY_HIGH;
  GPIO_InitStruct.Alternate = GPIO_AF4_I2C1;
  HAL_GPIO_Init(GPIOB, &GPIO_InitStruct);

  /* EXTI interrupt init*/
  HAL_NVIC_SetPriority(EXTI9_5_IRQn,   0, 0);
  HAL_NVIC_EnableIRQ(EXTI9_5_IRQn);

  //HAL_NVIC_SetPriority(EXTI15_10_IRQn,0, 0);
  //HAL_NVIC_EnableIRQ(EXTI15_10_IRQn);
}

void Error_Handler(void)
{
  /* USER CODE BEGIN Error_Handler_Debug */
  /* User can add custom implementation to report the HAL error return state */
  __disable_irq();
  while (1)
  {
  }
  /* USER CODE END Error_Handler_Debug */
}

#ifdef  USE_FULL_ASSERT
/**
  * @brief  Reports the name of the source file and the source line number
  *         where the assert_param error has occurred.
  * @param  file: pointer to the source file name
  * @param  line: assert_param error line source number
  * @retval None
  */
void assert_failed(uint8_t *file, uint32_t line)
{
  /* USER CODE BEGIN 6 */
  /* User can add custom implementation to report the file name and line number. */
  /* USER CODE END 6 */
}
#endif /* USE_FULL_ASSERT */
